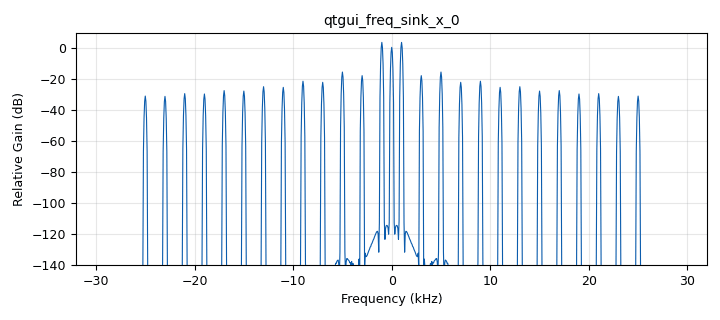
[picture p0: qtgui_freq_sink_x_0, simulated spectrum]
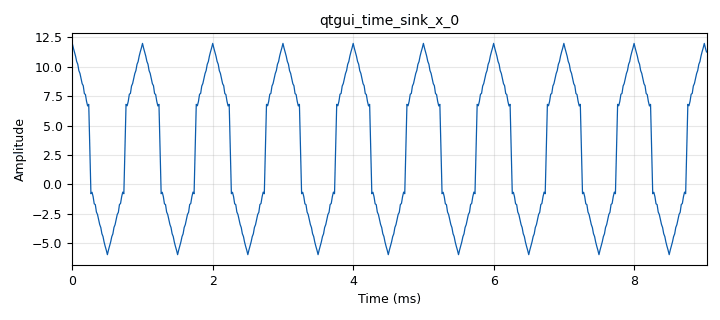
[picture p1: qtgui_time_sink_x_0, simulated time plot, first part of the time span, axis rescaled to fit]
options:
  parameters:
    generate_options: qt_gui
    id: triangolosmezzato
    output_language: python
    title: Not titled yet
  states: {}

blocks:
- name: samp_rate
  id: variable
  parameters:
    value: '64000'
  states: {}
- name: analog_sig_source_x_0
  id: analog_sig_source_x
  parameters:
    amp: '3'
    freq: '0'
    offset: '0'
    phase: '3.14'
    samp_rate: samp_rate
    type: float
    waveform: analog.GR_CONST_WAVE
  states: {}
- name: analog_sig_source_x_1
  id: analog_sig_source_x
  parameters:
    amp: '8.6831'
    freq: '1000'
    offset: '0'
    phase: '0'
    samp_rate: samp_rate
    type: float
    waveform: analog.GR_COS_WAVE
  states: {}
- name: analog_sig_source_x_1_0
  id: analog_sig_source_x
  parameters:
    amp: '0.7328'
    freq: '3000'
    offset: '0'
    phase: '3.14'
    samp_rate: samp_rate
    type: float
    waveform: analog.GR_COS_WAVE
  states: {}
- name: analog_sig_source_x_1_1
  id: analog_sig_source_x
  parameters:
    amp: '0.9584'
    freq: '5000'
    offset: '0'
    phase: '0'
    samp_rate: samp_rate
    type: float
    waveform: analog.GR_COS_WAVE
  states: {}
- name: analog_sig_source_x_1_2
  id: analog_sig_source_x
  parameters:
    amp: '0.4464'
    freq: '7000'
    offset: '0'
    phase: '3.14'
    samp_rate: samp_rate
    type: float
    waveform: analog.GR_COS_WAVE
  states: {}
- name: analog_sig_source_x_1_3
  id: analog_sig_source_x
  parameters:
    amp: '0.4844'
    freq: '9000'
    offset: '0'
    phase: '0'
    samp_rate: samp_rate
    type: float
    waveform: analog.GR_COS_WAVE
  states: {}
- name: analog_sig_source_x_1_4
  id: analog_sig_source_x
  parameters:
    amp: '0.307'
    freq: '11000'
    offset: '0'
    phase: '3.14'
    samp_rate: samp_rate
    type: float
    waveform: analog.GR_COS_WAVE
  states: {}
- name: analog_sig_source_x_1_5
  id: analog_sig_source_x
  parameters:
    amp: '0.32260'
    freq: '13000'
    offset: '0'
    phase: '0'
    samp_rate: samp_rate
    type: float
    waveform: analog.GR_COS_WAVE
  states: {}
- name: analog_sig_source_x_1_6
  id: analog_sig_source_x
  parameters:
    amp: '0.23303'
    freq: '15000'
    offset: '0'
    phase: '3.14'
    samp_rate: samp_rate
    type: float
    waveform: analog.GR_COS_WAVE
  states: {}
- name: analog_sig_source_x_1_6_0
  id: analog_sig_source_x
  parameters:
    amp: '0.24151'
    freq: '17000'
    offset: '0'
    phase: '0'
    samp_rate: samp_rate
    type: float
    waveform: analog.GR_COS_WAVE
  states: {}
- name: analog_sig_source_x_1_6_1
  id: analog_sig_source_x
  parameters:
    amp: '0.1875'
    freq: '19000'
    offset: '0'
    phase: '3.14'
    samp_rate: samp_rate
    type: float
    waveform: analog.GR_COS_WAVE
  states: {}
- name: analog_sig_source_x_1_6_2
  id: analog_sig_source_x
  parameters:
    amp: '0.1929'
    freq: '21000'
    offset: '0'
    phase: '0'
    samp_rate: samp_rate
    type: float
    waveform: analog.GR_COS_WAVE
  states: {}
- name: analog_sig_source_x_1_6_3
  id: analog_sig_source_x
  parameters:
    amp: '0.15688'
    freq: '23000'
    offset: '0'
    phase: '3.14'
    samp_rate: samp_rate
    type: float
    waveform: analog.GR_COS_WAVE
  states: {}
- name: analog_sig_source_x_1_6_4
  id: analog_sig_source_x
  parameters:
    amp: '0.16057'
    freq: '25000'
    offset: '0'
    phase: '0'
    samp_rate: samp_rate
    type: float
    waveform: analog.GR_COS_WAVE
  states: {}
- name: blocks_add_xx_0
  id: blocks_add_xx
  parameters:
    num_inputs: '14'
    type: float
  states: {}
- name: blocks_throttle_0
  id: blocks_throttle
  parameters:
    samples_per_second: samp_rate
    type: float
  states: {}
- name: qtgui_freq_sink_x_0
  id: qtgui_freq_sink_x
  parameters:
    bw: samp_rate
    fc: '0'
    fftsize: '1024'
    type: float
  states: {}
- name: qtgui_time_sink_x_0
  id: qtgui_time_sink_x
  parameters:
    size: '1024'
    srate: samp_rate
    type: float
  states: {}

connections:
- [analog_sig_source_x_0, '0', blocks_add_xx_0, '0']
- [analog_sig_source_x_1, '0', blocks_add_xx_0, '1']
- [analog_sig_source_x_1_0, '0', blocks_add_xx_0, '2']
- [analog_sig_source_x_1_1, '0', blocks_add_xx_0, '3']
- [analog_sig_source_x_1_2, '0', blocks_add_xx_0, '4']
- [analog_sig_source_x_1_3, '0', blocks_add_xx_0, '5']
- [analog_sig_source_x_1_4, '0', blocks_add_xx_0, '6']
- [analog_sig_source_x_1_5, '0', blocks_add_xx_0, '7']
- [analog_sig_source_x_1_6, '0', blocks_add_xx_0, '8']
- [analog_sig_source_x_1_6_0, '0', blocks_add_xx_0, '9']
- [analog_sig_source_x_1_6_1, '0', blocks_add_xx_0, '10']
- [analog_sig_source_x_1_6_2, '0', blocks_add_xx_0, '11']
- [analog_sig_source_x_1_6_3, '0', blocks_add_xx_0, '12']
- [analog_sig_source_x_1_6_4, '0', blocks_add_xx_0, '13']
- [blocks_add_xx_0, '0', blocks_throttle_0, '0']
- [blocks_throttle_0, '0', qtgui_freq_sink_x_0, '0']
- [blocks_throttle_0, '0', qtgui_time_sink_x_0, '0']

metadata:
  file_format: 1
  grc_version: 3.10.5.1
